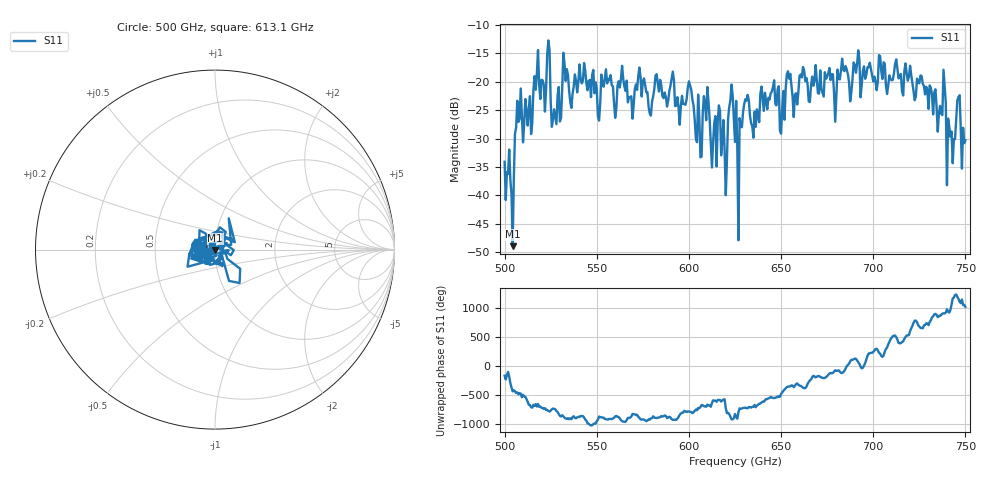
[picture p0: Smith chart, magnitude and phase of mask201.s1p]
!Created with skrf (http://scikit-rf.org).
# GHz S MA R 50.0
!freq magS11 angS11
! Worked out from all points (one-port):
!   401 points, 500 GHz to 750 GHz, reference 50 ohm
!   lowest |S11| = -48.9 dB at 504.4 GHz (marker M1), VSWR 1.01, Z = 50.1 - j0.347 ohm
!   |S11| at or under -10 dB: start of sweep to end of sweep
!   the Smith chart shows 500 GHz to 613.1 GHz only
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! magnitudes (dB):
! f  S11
! 500 GHz  -34.1
! 504.4 GHz  -48.9
! 507.5 GHz  -27.1
! 513.8 GHz  -22.5
! 516.9 GHz  -21.4
! 523.8 GHz  -12.7
! 526.9 GHz  -24.8
! 531.2 GHz  -21.2
! 562.5 GHz  -21.0
! 579.4 GHz  -26.0
! 590.6 GHz  -19.5
! 593.8 GHz  -22.7
! 600.6 GHz  -20.6
! 605.6 GHz  -26.2
! 609.4 GHz  -26.8
! 619.4 GHz  -32.2
! 622.5 GHz  -23.2
! 625 GHz  -30.6
! 627.5 GHz  -26.4
! 631.2 GHz  -23.3
! 635 GHz  -29.8
! 656.2 GHz  -22.7
! 687.5 GHz  -23.4
! 718.8 GHz  -19.8
! 738.1 GHz  -17.9
! 741.2 GHz  -27.9
! 746.2 GHz  -22.7
! 750 GHz  -30.3
